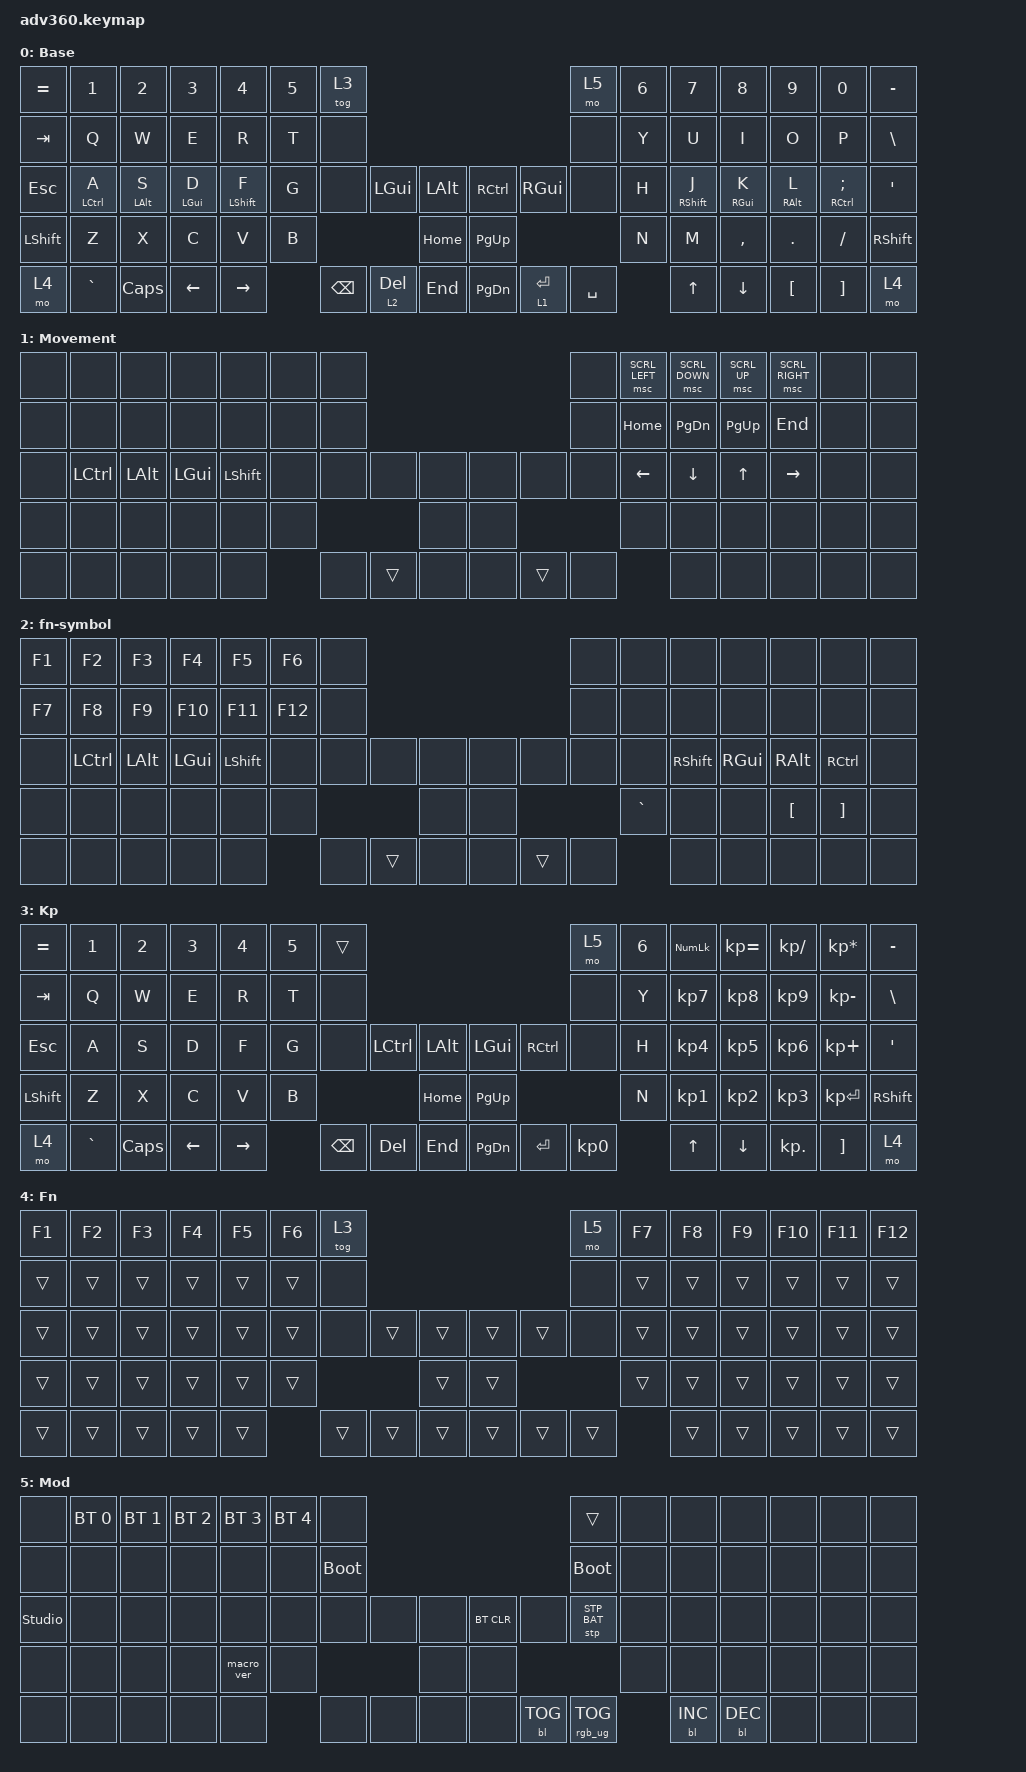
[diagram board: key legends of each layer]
#include <dt-bindings/zmk/stp.h>
#include <behaviors.dtsi>
#include <dt-bindings/zmk/backlight.h>
#include <dt-bindings/zmk/bt.h>
#include <dt-bindings/zmk/keys.h>
#include <dt-bindings/zmk/pointing.h>
#include <dt-bindings/zmk/rgb.h>

/ {
    behaviors {
        #include "macros.dtsi"
      #include "version.dtsi"

        hm: homerow_mods {
            compatible = "zmk,behavior-hold-tap";
            label = "HOMEROW_MODS";
            #binding-cells = <2>;
            tapping-term-ms = <200>;
            quick_tap_ms = <175>;
            flavor = "tap-preferred";
            bindings = <&kp>, <&kp>;
        };

        HMShiftR: HMShiftR {
            compatible = "zmk,behavior-hold-tap";
            label = "HMSHIFTR";
            bindings = <&kp>, <&kp>;

            #binding-cells = <2>;
            tapping-term-ms = <150>;
            hold-trigger-key-positions = <0 1 2 3 4 5 6 20 34 33 19 51 64 50 32 18 17 31 49 63 62 48 30 16 15 29 47 61 14 28 46 60 65 66 67 52 36 35>;
            hold-trigger-on-release;
            quick-tap-ms = <200>;
            flavor = "balanced";
        };

        HMShiftL: HMShiftL {
            compatible = "zmk,behavior-hold-tap";
            label = "HMSHIFTL";
            bindings = <&kp>, <&kp>;

            #binding-cells = <2>;
            tapping-term-ms = <150>;
            hold-trigger-on-release;
            hold-trigger-key-positions = <68 69 70 37 53 38 75 74 73 72 71 54 55 57 56 58 59 45 44 43 42 41 40 39 21 22 23 24 25 26 27 13 12 11 10 9 8 7>;
            quick-tap-ms = <200>;
            flavor = "balanced";
        };

        HMR: HMR {
            compatible = "zmk,behavior-hold-tap";
            label = "HMR";
            bindings = <&kp>, <&kp>;

            #binding-cells = <2>;
            tapping-term-ms = <150>;
            hold-trigger-key-positions = <0 1 2 3 4 5 6 20 34 33 19 51 64 50 32 18 17 31 49 63 62 48 30 16 15 29 47 61 14 28 46 60 65 66 67 52 36 35>;
            hold-trigger-on-release;
            flavor = "tap-preferred";
            quick-tap-ms = <200>;
        };

        HML: HML {
            compatible = "zmk,behavior-hold-tap";
            label = "HML";
            bindings = <&kp>, <&kp>;

            #binding-cells = <2>;
            tapping-term-ms = <150>;
            hold-trigger-on-release;
            hold-trigger-key-positions = <68 69 70 37 53 38 75 74 73 72 71 54 55 57 56 58 59 45 44 43 42 41 40 39 21 22 23 24 25 26 27 13 12 11 10 9 8 7>;
            flavor = "tap-preferred";
            quick-tap-ms = <200>;
        };
    };

    combos {
        compatible = "zmk,combos";

        combo_caps_word {
            bindings = <&caps_word>;
            key-positions = <32 41>;
            layers = <0>;
        };
    };

    keymap {
        compatible = "zmk,keymap";

        default_layer {
            display-name = "Base";
            bindings = <
&kp EQUAL  &kp N1               &kp N2           &kp N3           &kp N4                  &kp N5  &tog 3                                                                  &mo 5      &kp N6  &kp N7                   &kp N8            &kp N9            &kp N0                        &kp MINUS
&kp TAB    &kp Q                &kp W            &kp E            &kp R                   &kp T   &none                                                                   &none      &kp Y   &kp U                    &kp I             &kp O             &kp P                         &kp BSLH
&kp ESC    &HML LEFT_CONTROL A  &HML LEFT_ALT S  &HML LEFT_GUI D  &HMShiftL LEFT_SHIFT F  &kp G   &none     &kp LEFT_GUI  &kp LALT      &kp RIGHT_CONTROL  &kp RIGHT_GUI  &none      &kp H   &HMShiftR RIGHT_SHIFT J  &HMR RIGHT_GUI K  &HMR RIGHT_ALT L  &HMR RIGHT_CONTROL SEMICOLON  &kp SQT
&kp LSHFT  &kp Z                &kp X            &kp C            &kp V                   &kp B                           &kp HOME      &kp PG_UP                                    &kp N   &kp M                    &kp COMMA         &kp DOT           &kp FSLH                      &kp RSHFT
&mo 4      &kp GRAVE            &kp CAPS         &kp LEFT         &kp RIGHT                       &kp BSPC  &lt 2 DEL     &kp END       &kp PG_DN          &lt 1 ENTER    &kp SPACE          &kp UP                   &kp DOWN          &kp LBKT          &kp RBKT                      &mo 4
            >;
        };

        movement {
            display-name = "Movement";
            bindings = <
&none  &none             &none         &none         &none           &none  &none                                    &none  &msc SCRL_LEFT  &msc SCRL_DOWN  &msc SCRL_UP  &msc SCRL_RIGHT  &none  &none
&none  &none             &none         &none         &none           &none  &none                                    &none  &kp HOME        &kp PAGE_DOWN   &kp PAGE_UP   &kp END          &none  &none
&none  &kp LEFT_CONTROL  &kp LEFT_ALT  &kp LEFT_GUI  &kp LEFT_SHIFT  &none  &none  &none   &none      &none  &none   &none  &kp LEFT        &kp DOWN        &kp UP        &kp RIGHT        &none  &none
&none  &none             &none         &none         &none           &none                 &none      &none                 &none           &none           &none         &none            &none  &none
&none  &none             &none         &none         &none                  &none  &trans  &none      &none  &trans  &none                  &none           &none         &none            &none  &none
            >;
        };

        fn-symbol {
            bindings = <
&kp F1  &kp F2            &kp F3    &kp F4    &kp F5     &kp F6   &none                                    &none  &none      &none      &none     &none     &none      &none
&kp F7  &kp F8            &kp F9    &kp F10   &kp F11    &kp F12  &none                                    &none  &none      &none      &none     &none     &none      &none
&none   &kp LEFT_CONTROL  &kp LALT  &kp LGUI  &kp LSHFT  &none    &none  &none   &none      &none  &none   &none  &none      &kp RSHFT  &kp RGUI  &kp RALT  &kp RCTRL  &none
&none   &none             &none     &none     &none      &none                   &none      &none                 &kp GRAVE  &none      &none     &kp LBKT  &kp RBKT   &none
&none   &none             &none     &none     &none               &none  &trans  &none      &none  &trans  &none             &none      &none     &none     &none      &none
            >;
        };

        keypad {
            display-name = "Kp";
            bindings = <
&kp EQUAL  &kp N1     &kp N2    &kp N3    &kp N4     &kp N5  &trans                                                   &mo 5      &kp N6  &kp KP_NUM  &kp KP_EQUAL  &kp KP_DIVIDE  &kp KP_MULTIPLY  &kp MINUS
&kp TAB    &kp Q      &kp W     &kp E     &kp R      &kp T   &none                                                    &none      &kp Y   &kp KP_N7   &kp KP_N8     &kp KP_N9      &kp KP_MINUS     &kp BSLH
&kp ESC    &kp A      &kp S     &kp D     &kp F      &kp G   &none     &kp LCTRL  &kp LALT      &kp LGUI   &kp RCTRL  &none      &kp H   &kp KP_N4   &kp KP_N5     &kp KP_N6      &kp KP_PLUS      &kp SQT
&kp LSHFT  &kp Z      &kp X     &kp C     &kp V      &kp B                        &kp HOME      &kp PG_UP                        &kp N   &kp KP_N1   &kp KP_N2     &kp KP_N3      &kp KP_ENTER     &kp RSHFT
&mo 4      &kp GRAVE  &kp CAPS  &kp LEFT  &kp RIGHT          &kp BSPC  &kp DEL    &kp END       &kp PG_DN  &kp ENTER  &kp KP_N0          &kp UP      &kp DOWN      &kp KP_DOT     &kp RBKT         &mo 4
            >;
        };

        fn {
            display-name = "Fn";
            bindings = <
&kp F1  &kp F2  &kp F3  &kp F4  &kp F5  &kp F6  &tog 3                                      &mo 5   &kp F7  &kp F8  &kp F9  &kp F10  &kp F11  &kp F12
&trans  &trans  &trans  &trans  &trans  &trans  &none                                       &none   &trans  &trans  &trans  &trans   &trans   &trans
&trans  &trans  &trans  &trans  &trans  &trans  &none   &trans  &trans      &trans  &trans  &none   &trans  &trans  &trans  &trans   &trans   &trans
&trans  &trans  &trans  &trans  &trans  &trans                  &trans      &trans                  &trans  &trans  &trans  &trans   &trans   &trans
&trans  &trans  &trans  &trans  &trans          &trans  &trans  &trans      &trans  &trans  &trans          &trans  &trans  &trans   &trans   &trans
            >;
        };

        mod {
            display-name = "Mod";
            bindings = <
&none           &bt BT_SEL 0  &bt BT_SEL 1  &bt BT_SEL 2  &bt BT_SEL 3  &bt BT_SEL 4  &none                                                  &trans           &none  &none       &none       &none  &none  &none
&none           &none         &none         &none         &none         &none         &bootloader                                            &bootloader      &none  &none       &none       &none  &none  &none
&studio_unlock  &none         &none         &none         &none         &none         &none        &none  &none      &bt BT_CLR  &none       &stp STP_BAT     &none  &none       &none       &none  &none  &none
&none           &none         &none         &none         &macro_ver    &none                             &none      &none                                    &none  &none       &none       &none  &none  &none
&none           &none         &none         &none         &none                       &none        &none  &none      &none       &bl BL_TOG  &rgb_ug RGB_TOG         &bl BL_INC  &bl BL_DEC  &none  &none  &none
            >;
        };

        extra1 {
            display-name = "Red";
            status = "reserved";
        };

        extra2 {
            display-name = "Purple";
            status = "reserved";
        };

        extra3 {
            display-name = "Cyan";
            status = "reserved";
        };

        extra4 {
            display-name = "Yellow";
            status = "reserved";
        };
    };
};
